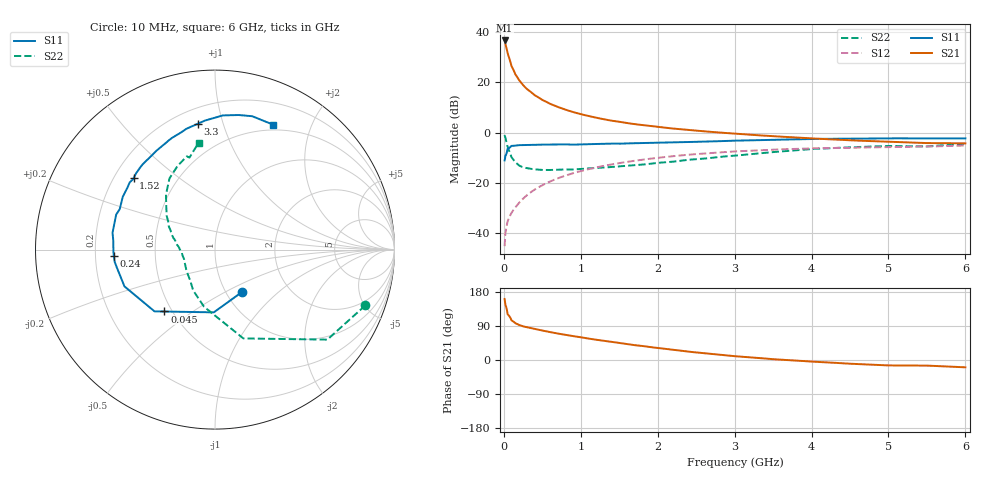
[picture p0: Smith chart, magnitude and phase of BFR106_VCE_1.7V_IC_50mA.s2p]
! Infineon Technologies  Discrete & RF Semiconductors
! BFR106
! VCE =  1.7 V,  IC =  50 mA
! Common Emitter S-Parameters:  Nov 2015
# GHz  S  MA  R  50
!  f  S11  S21  S12  S22
! GHz  MAG  ANG  MAG  ANG  MAG  ANG  MAG  ANG
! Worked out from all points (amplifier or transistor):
!   210 points, 10 MHz to 6 GHz, reference 50 ohm
!   highest |S21| = 36.7 dB at 10 MHz (marker M1)
!   |S21| within 3 dB of that: start of sweep to 33.55 MHz
!   unconditionally stable (mu >= 1): 227.7 MHz to 2.872 GHz; 4.936 GHz to end of sweep
!   at 185 MHz: K = 0.96, MSG = 25.0 dB, |S12| = -28.4 dB
!   at 1.52 GHz: K = 1.06, MAG = 6.6 dB, |S12| = -12.0 dB
!   at 6 GHz: K = 1.01, MAG = -0.2 dB, |S12| = -5.1 dB
!   S11 on the Smith chart (normalised r, x): 10 MHz: 1.19, -0.61; 45 MHz: 0.45, -0.39; 240 MHz: 0.28, -0.03; 1.52 GHz: 0.28, +0.35; 3.3 GHz: 0.29, +0.83; 6 GHz: 0.44, +1.48
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0.01  0.28 -57.0  68.26 161.0  0.0055 77.4  0.8932 -20.4
0.02  0.3497 -91.1  59.51 146.1  0.0099 68.7  0.8022 -38.7
0.045  0.4455 -129.3  40.18 126.6  0.016 58.8  0.5493 -64.6
0.05  0.4816 -134.4  37.21 120.5  0.0173 57.7  0.5195 -72.3
0.1  0.5446 -157.9  21.08 104.4  0.0254 59.7  0.3239 -100.9
0.15  0.553 -167.8  14.4 96.8  0.0326 63.5  0.2583 -118.0
0.2  0.5631 -173.1  10.99 92.3  0.0403 66.7  0.2211 -128.6
0.24  0.565 -176.5  9.217 89.6  0.0468 67.8  0.207 -136.2
0.26  0.5658 -177.9  8.494 88.3  0.0501 68.3  0.2024 -139.4
0.3  0.5663 179.9  7.362 86.2  0.0569 69.5  0.1965 -144.1
0.4  0.5692 174.8  5.574 81.8  0.0733 70.5  0.1861 -153.8
0.5  0.5785 170.7  4.477 77.6  0.0897 70.2  0.181 -160.3
0.6  0.5786 166.9  3.754 73.6  0.1063 69.6  0.1806 -164.4
0.7  0.5816 163.2  3.25 69.8  0.1228 68.6  0.1832 -168.0
1.02  0.5855 152.6  2.29 59.3  0.1747 64.4  0.1899 -177.2
1.52  0.6033 138.7  1.628 44.4  0.2504 56.1  0.2145 172.2
2.02  0.6284 125.6  1.289 31.3  0.3177 47.3  0.2514 161.7
3.1  0.6962 101.5  0.931 8.6  0.429 29.3  0.3594 139.0
3.3  0.7072 97.9  0.888 5.5  0.4441 26.2  0.3839 135.2
4.1  0.7507 85.3  0.754 -5.2  0.4897 14.4  0.4779 120.8
5.1  0.7699 73.3  0.649 -14.4  0.5182 2.8  0.5404 106.5
6  0.7682 65.0  0.612 -19.3  0.5538 -6.1  0.6033 98.6
